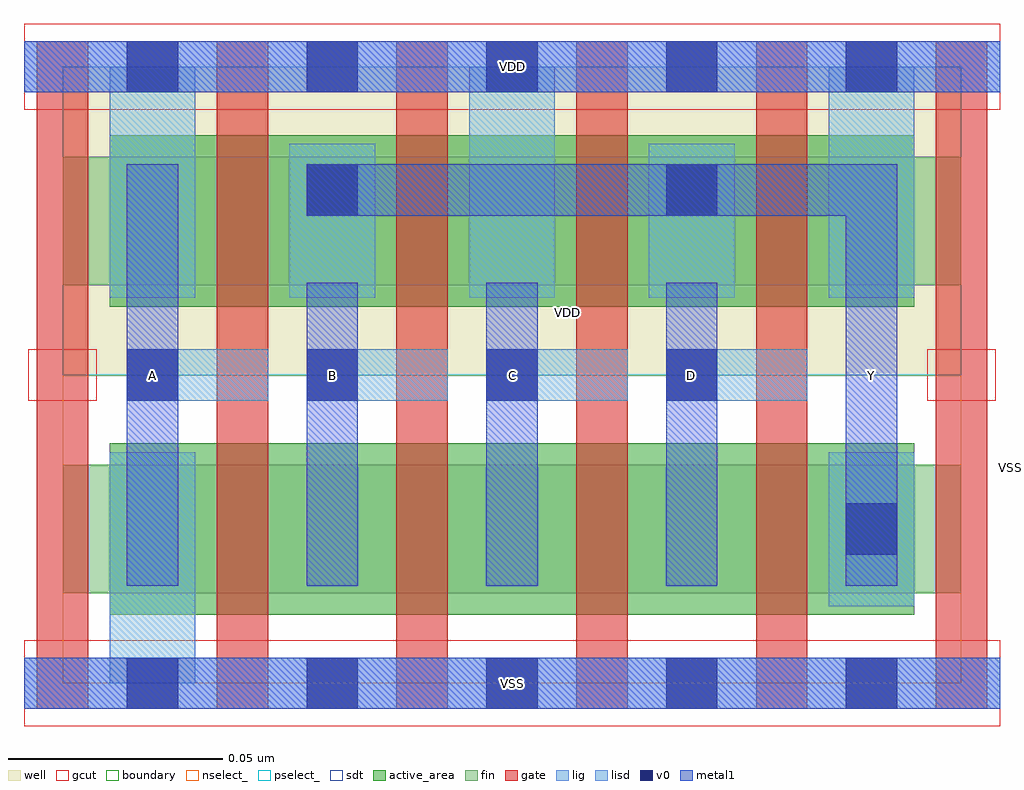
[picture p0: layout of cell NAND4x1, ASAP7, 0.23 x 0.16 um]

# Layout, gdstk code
import gdstk
lib = gdstk.Library(unit=1e-6, precision=2.5e-10)
def R(c, l, rs):  # rectangles x0, y0, x1, y1
    for r in rs: c.add(gdstk.rectangle(r[:2], r[2:], *l))
def A(c, l, x, y, w, h, nx, ny, dx, dy):  # array of equal rectangles
    R(c, l, [(x+i*dx, y+j*dy, x+i*dx+w, y+j*dy+h) for i in range(nx) for j in range(ny)])
def P(c, l, *ps):  # polygons
    for p in ps: c.add(gdstk.Polygon(p, *l))
well = (1, 0)
fin = (2, 0)
gate = (7, 0)
gcut = (10, 0)
active_area = (11, 0)
nselect_ = (12, 0)
pselect_ = (13, 0)
lig = (16, 0)
lisd = (17, 0)
v0 = (18, 0)
metal1 = (19, 0)
sdt = (88, 0)
boundary = (100, 0)

nand4x1 = lib.new_cell('NAND4x1')
R(nand4x1, well, [(0,0.072,0.21,0.144)])
R(nand4x1, fin, [(0,0.021,0.21,0.051), (0,0.093,0.21,0.123)])
A(nand4x1, gate, -0.006, -0.006, 0.012, 0.156, 6, 1, 0.042, 0)
R(nand4x1, gcut, [(-0.009,-0.01,0.219,0.01), (-0.008,0.066,0.008,0.078), (0.202,0.066,0.218,0.078), (-0.009,0.134,0.219,0.154)])
R(nand4x1, active_area, [(0.011,0.016,0.199,0.056), (0.011,0.088,0.199,0.128)])
R(nand4x1, nselect_, [(0,0,0.21,0.072)])
R(nand4x1, pselect_, [(0,0.072,0.21,0.144)])
A(nand4x1, lig, 0.015, 0.066, 0.033, 0.012, 4, 1, 0.042, 0)
R(nand4x1, lig, [(-0.009,-0.006,0.219,0.006), (-0.009,0.138,0.219,0.15)])
A(nand4x1, lisd, 0.011, 0.09, 0.02, 0.054, 3, 1, 0.084, 0)
R(nand4x1, lisd, [(0.011,0,0.031,0.054), (0.179,0.018,0.199,0.054), (0.053,0.09,0.073,0.126), (0.137,0.09,0.157,0.126)])
A(nand4x1, v0, 0.015, -0.006, 0.012, 0.012, 5, 2, 0.042, 0.144)
A(nand4x1, v0, 0.015, 0.066, 0.012, 0.012, 4, 1, 0.042, 0)
R(nand4x1, v0, [(0.183,0.03,0.195,0.042), (0.057,0.1092,0.069,0.1212), (0.141,0.1092,0.153,0.1212)])
A(nand4x1, metal1, 0.057, 0.0227, 0.012, 0.0708, 3, 1, 0.042, 0)
R(nand4x1, metal1, [(-0.009,-0.006,0.219,0.006), (0.015,0.0227,0.027,0.1212), (-0.009,0.138,0.219,0.15)])
P(nand4x1, metal1, [(0.057,0.1212),(0.195,0.1212),(0.195,0.0227),(0.183,0.0227),(0.183,0.1092),(0.057,0.1092)])
A(nand4x1, sdt, 0.011, 0.093, 0.02, 0.03, 5, 1, 0.042, 0)
R(nand4x1, sdt, [(0.011,0.021,0.031,0.051), (0.179,0.021,0.199,0.051)])
R(nand4x1, boundary, [(0,0,0.21,0.144)])
nand4x1.add(gdstk.Label('VDD', (0.118,0.0865), layer=1, texttype=251))
nand4x1.add(gdstk.Label('VSS', (0.224,0.0505), layer=3, texttype=251))
nand4x1.add(gdstk.Label('D', (0.147,0.072), layer=19, texttype=251))
nand4x1.add(gdstk.Label('C', (0.105,0.072), layer=19, texttype=251))
nand4x1.add(gdstk.Label('Y', (0.189,0.072), layer=19, texttype=251))
nand4x1.add(gdstk.Label('A', (0.021,0.072), layer=19, texttype=251))
nand4x1.add(gdstk.Label('VSS', (0.105,0), layer=19, texttype=251))
nand4x1.add(gdstk.Label('VDD', (0.105,0.144), layer=19, texttype=251))
nand4x1.add(gdstk.Label('B', (0.063,0.072), layer=19, texttype=251))

lib.write_gds('NAND4x1.gds')
